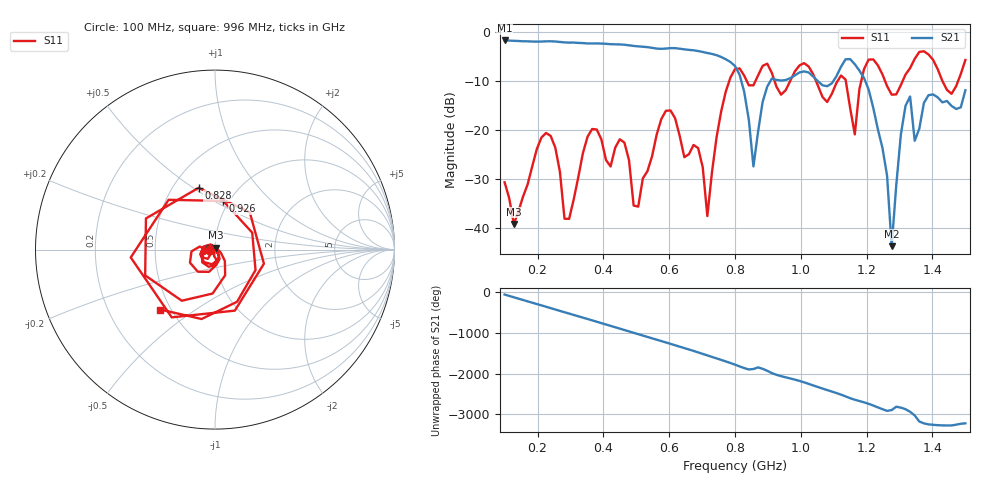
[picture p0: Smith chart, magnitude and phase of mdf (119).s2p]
! NanoVNA-App
! Date: 2025-09-25 17:41:53
! Start: 100MHz Stop: 1,5GHz Points: 101
! S-Parameter data: F S11 S21 S12 S22
# Hz S RI R 50
!  Frequency  S11_Real  S11_Imag  S21_Real  S21_Imag  S12_Real  S12_Imag  S22_Real  S22_Imag
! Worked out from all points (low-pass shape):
!   101 points, 100 MHz to 1.5 GHz, reference 50 ohm
!   highest |S21| = -1.80 dB at 100 MHz (marker M1); lowest = -43.7 dB at 1.276 GHz (marker M2)
!   |S21| within 3 dB of the highest: start of sweep to 744.1 MHz
!   lowest |S11| = -39.2 dB at 128 MHz (marker M3), VSWR 1.02, Z = 50.3 + j1.05 ohm
!   |S11| at or under -10 dB: start of sweep to 782.9 MHz; 919.9 MHz to 968.1 MHz (48.23 MHz wide, 5.11 % of centre); 1.046 GHz to 1.112 GHz (66.67 MHz wide, 6.18 % of centre) (the widest 3 of 7)
!   S12 and S22 are empty: the file has one direction only
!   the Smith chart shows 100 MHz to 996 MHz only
!   S11 on the Smith chart (normalised r, x): 100 MHz: 0.94, -0.01; 828 MHz: 0.67, +0.53; 926 MHz: 0.94, +0.55; 996 MHz: 0.44, -0.37
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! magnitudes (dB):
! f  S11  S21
! 100 MHz  -30.7  -1.8
! 128 MHz  -39.2  -1.9
! 212 MHz  -21.6  -2.0
! 282 MHz  -38.1  -2.2
! 338 MHz  -24.7  -2.3
! 464 MHz  -22.6  -2.7
! 506 MHz  -35.7  -3.0
! 576 MHz  -17.8  -3.5
! 688 MHz  -23.7  -4.0
! 716 MHz  -37.6  -4.4
! 800 MHz  -7.6  -7.0
! 828 MHz  -9.0  -12.3
! 856 MHz  -10.9  -27.5
! 926 MHz  -11.2  -9.8
! 996 MHz  -6.9  -8.3
! 1.038 GHz  -8.7  -9.2
! 1.164 GHz  -20.9  -6.6
! 1.192 GHz  -7.6  -9.5
! 1.262 GHz  -11.1  -29.3
! 1.276 GHz  -12.8  -43.7
! 1.318 GHz  -8.8  -15.1
! 1.5 GHz  -5.8  -12.0
